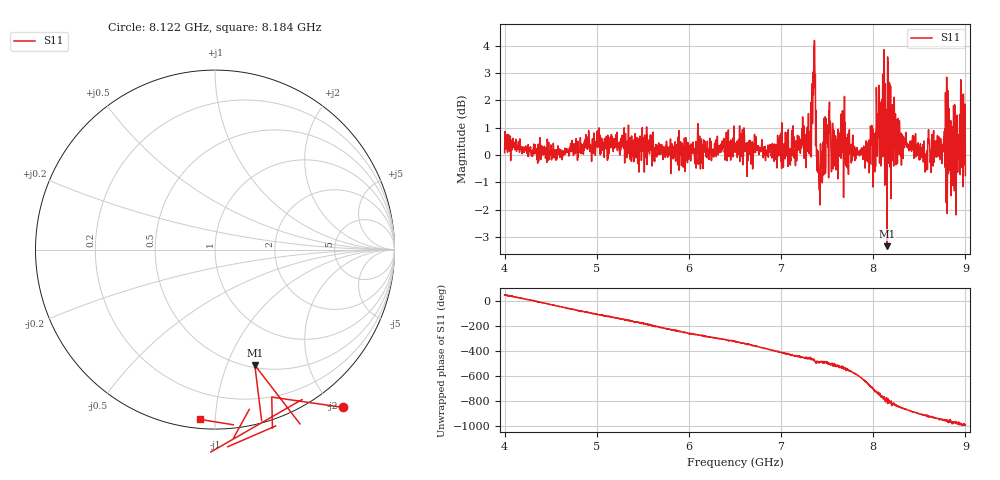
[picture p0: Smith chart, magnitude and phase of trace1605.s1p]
! Created with skrf 1.8.0 (http://scikit-rf.org).
# Hz S RI R 50.0
!freq ReS11 ImS11
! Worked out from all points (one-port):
!   1601 points, 4 GHz to 9 GHz, reference 50 ohm
!   lowest |S11| = -3.3 dB at 8.15 GHz (marker M1), VSWR 5.27, Z = 26.3 - j63.1 ohm
!   |S11| at or under -10 dB: nowhere
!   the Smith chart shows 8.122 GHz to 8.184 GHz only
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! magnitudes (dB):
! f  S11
! 4 GHz  0.1
! 4.625 GHz  -0.2
! 5.25 GHz  0.0
! 5.875 GHz  0.2
! 6.5 GHz  0.3
! 7.125 GHz  0.5
! 7.294 GHz  0.5
! 7.356 GHz  4.0
! 7.381 GHz  0.9
! 7.4 GHz  0.1
! 7.428 GHz  0.4
! 7.512 GHz  1.1
! 7.572 GHz  0.9
! 7.669 GHz  0.7
! 7.75 GHz  0.2
! 7.941 GHz  -0.1
! 8.022 GHz  0.3
! 8.097 GHz  -0.1
! 8.15 GHz  -3.3
! 8.181 GHz  -0.2
! 8.197 GHz  0.9
! 8.375 GHz  0.4
! 8.562 GHz  -0.6
! 8.775 GHz  0.7
! 8.834 GHz  1.0
! 8.841 GHz  1.3
! 8.972 GHz  0.4
! 9 GHz  -0.7
